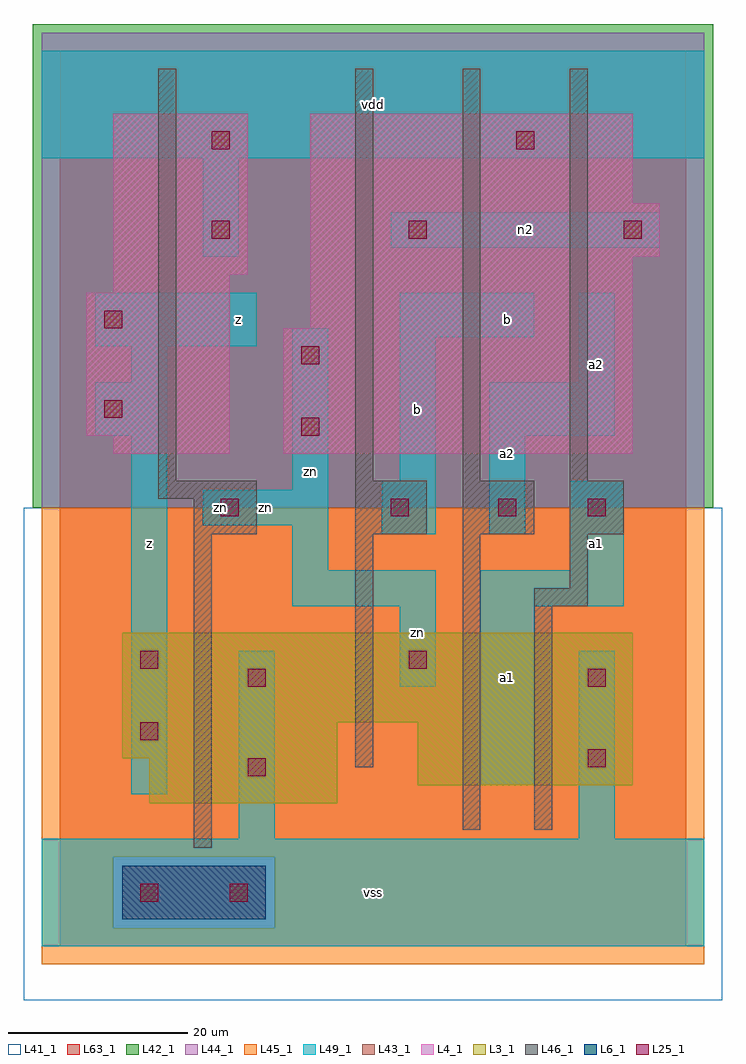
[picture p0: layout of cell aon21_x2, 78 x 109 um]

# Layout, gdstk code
import gdstk
lib = gdstk.Library(unit=1e-6, precision=1e-09)
def R(c, l, rs):  # rectangles x0, y0, x1, y1
    for r in rs: c.add(gdstk.rectangle(r[:2], r[2:], *l))
def A(c, l, x, y, w, h, nx, ny, dx, dy):  # array of equal rectangles
    R(c, l, [(x+i*dx, y+j*dy, x+i*dx+w, y+j*dy+h) for i in range(nx) for j in range(ny)])
L3_1 = (3, 1)
L4_1 = (4, 1)
L6_1 = (6, 1)
L25_1 = (25, 1)
L41_1 = (41, 1)
L42_1 = (42, 1)
L43_1 = (43, 1)
L44_1 = (44, 1)
L45_1 = (45, 1)
L46_1 = (46, 1)
L49_1 = (49, 1)
L63_1 = (63, 1)

aon21_x2 = lib.new_cell('aon21_x2')
R(aon21_x2, L3_1, [(10,16,31,21), (40,18,64,25), (7,21,31,25), (7,25,64,35)])
R(aon21_x2, L4_1, [(6,55,19,57), (25,55,64,69), (3,57,19,73), (28,69,64,77), (6,73,19,75), (6,75,21,93), (28,77,67,83), (28,83,64,93)])
R(aon21_x2, L6_1, [(7,3,23,9)])
R(aon21_x2, L25_1, [(9,5,11,7), (19,5,21,7), (21,19,23,21), (59,20,61,22), (9,23,11,25), (21,29,23,31), (59,29,61,31), (9,31,11,33), (39,31,41,33), (18,48,20,50), (37,48,39,50), (49,48,51,50), (59,48,61,50), (27,57,29,59), (5,59,7,61), (27,65,29,67), (5,69,7,71), (17,79,19,81), (39,79,41,81), (63,79,65,81), (17,89,19,91), (51,89,53,91)])
R(aon21_x2, L41_1, [(-4,-6,74,49), (-3,-3,73,49)])
R(aon21_x2, L42_1, [(-3,49,73,103)])
R(aon21_x2, L43_1, [(7,3,23,9), (10,16,31,21), (40,18,64,25), (7,21,31,25), (7,25,64,35), (6,55,19,57), (25,55,64,69), (3,57,19,73), (28,69,64,77), (6,73,19,75), (6,75,21,93), (28,77,67,83), (28,83,64,93)])
R(aon21_x2, L44_1, [(6,2,24,10), (-2,49,72,102)])
R(aon21_x2, L45_1, [(-2,-2,72,2), (-2,2,6,10), (24,2,72,10), (-2,10,72,49)])
A(aon21_x2, L46_1, 33, 52, 2, 46, 3, 1, 12, 0)
R(aon21_x2, L46_1, [(15,11,17,46), (45,13,47,46), (53,13,55,38), (33,20,35,46), (53,38,59,40), (57,40,59,46), (15,46,22,50), (33,46,41,52), (45,46,53,52), (57,46,63,52), (11,50,22,52), (11,52,13,98)])
R(aon21_x2, L49_1, [(-2,0,72,12), (20,12,24,33), (58,12,62,33), (8,17,12,57), (47,18,53,38), (38,29,42,38), (26,38,42,42), (47,38,63,42), (26,42,30,47), (57,42,63,52), (36,46,42,52), (48,46,52,57), (16,47,30,51), (26,51,30,69), (38,52,42,68), (4,57,12,63), (48,57,62,63), (8,63,12,67), (58,63,62,73), (4,67,22,73), (38,68,53,73), (16,77,20,88), (37,78,67,82), (-2,88,72,100)])
R(aon21_x2, L63_1, [(0,0,70,100)])
aon21_x2.add(gdstk.Label('zn', (18,49), layer=49, texttype=1))
aon21_x2.add(gdstk.Label('z', (10,45), layer=49, texttype=1))
aon21_x2.add(gdstk.Label('z', (10,45), layer=49, texttype=1))
aon21_x2.add(gdstk.Label('zn', (28,53), layer=49, texttype=1))
aon21_x2.add(gdstk.Label('zn', (23,49), layer=49, texttype=1))
aon21_x2.add(gdstk.Label('z', (20,70), layer=49, texttype=1))
aon21_x2.add(gdstk.Label('z', (20,70), layer=49, texttype=1))
aon21_x2.add(gdstk.Label('vss', (35,6), layer=49, texttype=1))
aon21_x2.add(gdstk.Label('vss', (35,6), layer=49, texttype=1))
aon21_x2.add(gdstk.Label('zn', (40,35), layer=49, texttype=1))
aon21_x2.add(gdstk.Label('a1', (50,30), layer=49, texttype=1))
aon21_x2.add(gdstk.Label('a1', (50,30), layer=49, texttype=1))
aon21_x2.add(gdstk.Label('b', (50,70), layer=49, texttype=1))
aon21_x2.add(gdstk.Label('a2', (50,55), layer=49, texttype=1))
aon21_x2.add(gdstk.Label('b', (40,60), layer=49, texttype=1))
aon21_x2.add(gdstk.Label('b', (50,70), layer=49, texttype=1))
aon21_x2.add(gdstk.Label('b', (40,60), layer=49, texttype=1))
aon21_x2.add(gdstk.Label('a2', (50,55), layer=49, texttype=1))
aon21_x2.add(gdstk.Label('vdd', (35,94), layer=49, texttype=1))
aon21_x2.add(gdstk.Label('vdd', (35,94), layer=49, texttype=1))
aon21_x2.add(gdstk.Label('a1', (60,45), layer=49, texttype=1))
aon21_x2.add(gdstk.Label('a1', (60,45), layer=49, texttype=1))
aon21_x2.add(gdstk.Label('a2', (60,65), layer=49, texttype=1))
aon21_x2.add(gdstk.Label('a2', (60,65), layer=49, texttype=1))
aon21_x2.add(gdstk.Label('n2', (52,80), layer=49, texttype=1))

lib.write_gds('aon21_x2.gds')
